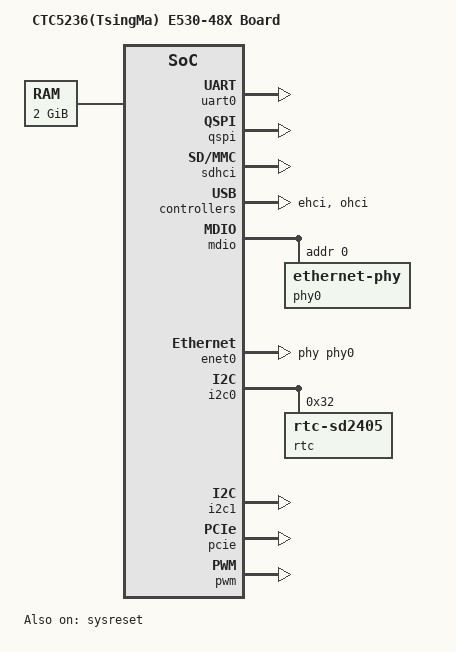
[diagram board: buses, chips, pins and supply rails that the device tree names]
/*
 * dts file for Centec CTC5236(TsingMa) SoC Emulation Board
 *
 * (C) Copyright 2004-2017 Centec Networks (suzhou) Co., LTD.
 *
 * Jay Cao <caoj@centecnetworks.com>
 *
 * This program is free software; you can redistribute it and/or
 * modify it under the terms of the GNU General Public License as
 * published by the Free Software Foundation; either version 2 of
 * the License, or (at your option) any later version.
 */

/dts-v1/;
#include "ctc5236.dtsi"

/ {
	model = " CTC5236(TsingMa) E530-48X Board";
	compatible = "ctc5236,e530-48x";

	memory {
		device_type = "memory";
		reg = <0 0x80000000 0 0x80000000>;
	};

	chosen {
		stdout-path = "serial0:115200n8";
	};

	aliases {
		serial0 = &uart0;
		spi0 = &spi;
		spi1 = &qspi;
		mmc0 = &sdhci;
		usb0 = &ehci;
		usb1 = &ohci;
		ethernet0 = &enet0;
		ethernet1 = &enet1;
		i2c0 = &i2c0;
		i2c1 = &i2c1;
		pcie0 = &pcie;
	};
};

&uart0 {
	status = "okay";
	clock = <20000000>;
};

&qspi {
	status = "okay";
	spi-max-frequency = <50000000>;
};

&sdhci {
	status = "okay";
	max-frequency = <100000000>;
};

&ehci {
	status = "okay";
};

&ohci {
	status = "okay";
};

&mdio {
	status = "okay";
			
	phy0: ethernet-phy@0 {
		index = <0x00>;
		reg = <0x00>;
	};
};

&enet0 {
	status = "okay";
	phy-handle = <&phy0>;
	auto-nego-mode = "sgmii-mac";
};

&i2c0 {
        status = "okay";
		rtc:rtc@32{
			compatible = "rtc-sd2405";
			reg = <0x32>;
		};
};

&i2c1 {
        status = "okay";
};

&pcie {
        status = "okay";
};

&gpio0 {
        status = "okay";
};
&pwm {
        status = "okay";
};

&sysreset {
               status = "okay";
};
